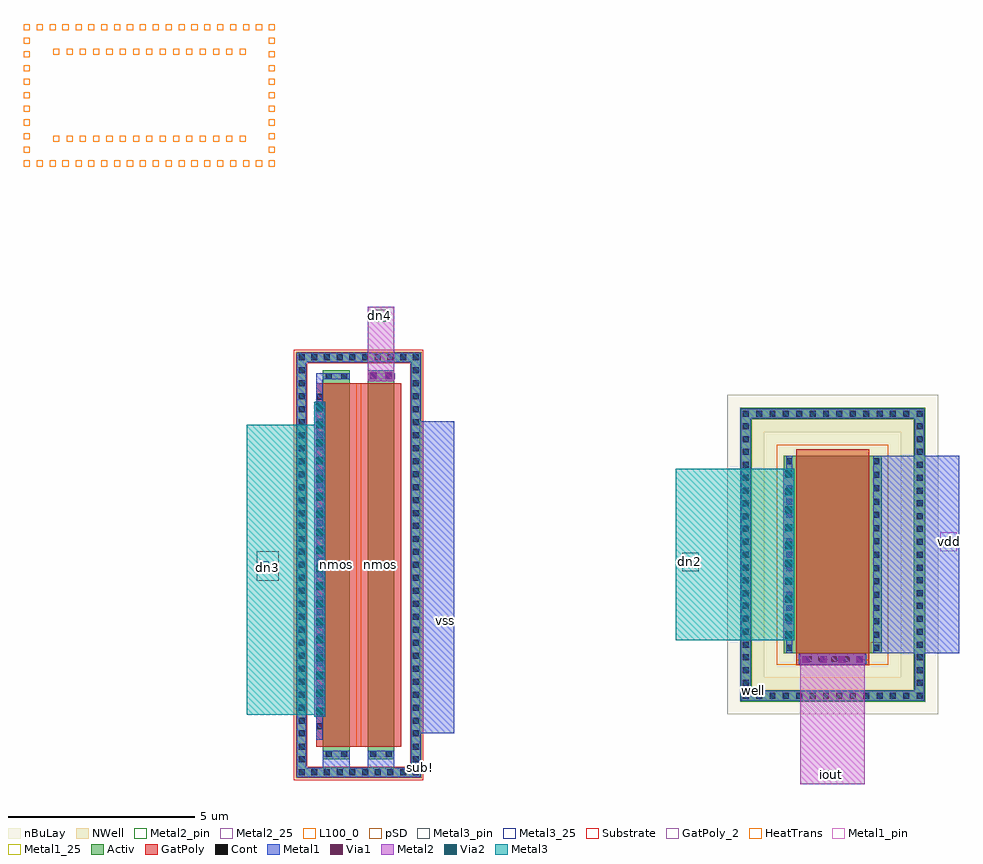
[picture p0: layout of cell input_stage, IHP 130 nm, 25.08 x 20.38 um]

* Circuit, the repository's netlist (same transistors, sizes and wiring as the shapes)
* Extracted by KLayout with SG13G2 LVS runset on : 27/03/2025 16:03

.SUBCKT input_stage vss dn4 dn3 vdd dn2 iout
M$1 vss dn3 dn4 \$1 sg13_lv_nmos L=9.75u W=0.72u AS=0.2448p AD=0.2448p PS=2.12u
+ PD=2.12u
M$2 vss dn3 dn3 \$1 sg13_lv_nmos L=9.75u W=0.72u AS=0.2448p AD=0.2448p PS=2.12u
+ PD=2.12u
M$3 dn2 iout vdd \$8 sg13_lv_pmos L=1.95u W=5.3u AS=1.802p AD=1.802p PS=11.28u
+ PD=11.28u
R$4 \$8 vdd ntap1 A=7.5826p P=48.92u
R$5 \$1 vss ptap1 A=7.0975p P=56.78u
.ENDS input_stage

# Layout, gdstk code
import gdstk
lib = gdstk.Library(unit=1e-6, precision=1e-09)
def R(c, l, rs):  # rectangles x0, y0, x1, y1
    for r in rs: c.add(gdstk.rectangle(r[:2], r[2:], *l))
def A(c, l, x, y, w, h, nx, ny, dx, dy):  # array of equal rectangles
    R(c, l, [(x+i*dx, y+j*dy, x+i*dx+w, y+j*dy+h) for i in range(nx) for j in range(ny)])
def P(c, l, *ps):  # polygons
    for p in ps: c.add(gdstk.Polygon(p, *l))
Activ = (1, 0)
GatPoly = (5, 0)
GatPoly_2 = (5, 2)
Cont = (6, 0)
Metal1 = (8, 0)
Metal1_pin = (8, 2)
Metal1_25 = (8, 25)
Metal2 = (10, 0)
Metal2_pin = (10, 2)
Metal2_25 = (10, 25)
pSD = (14, 0)
Via1 = (19, 0)
Via2 = (29, 0)
Metal3 = (30, 0)
Metal3_pin = (30, 2)
Metal3_25 = (30, 25)
NWell = (31, 0)
nBuLay = (32, 0)
Substrate = (40, 0)
HeatTrans = (51, 0)
L100_0 = (100, 0)

pmos = lib.new_cell('pmos')
R(pmos, Activ, [(0,0,0.3,0.3), (0,0,2.63,5.3), (2.33,0,2.63,0.3)])
R(pmos, GatPoly, [(0.34,-0.18,2.29,5.48), (0.34,-0.18,2.29,5.48)])
A(pmos, Cont, 0.07, 0.07, 0.16, 0.16, 1, 3, 0, 0.355)
A(pmos, Cont, 2.4, 0.07, 0.16, 0.16, 1, 3, 0, 0.355)
A(pmos, Cont, 0.07, 2.57, 0.16, 0.16, 1, 3, 0, 0.355)
A(pmos, Cont, 2.4, 2.57, 0.16, 0.16, 1, 3, 0, 0.355)
R(pmos, Cont, [(0.07,1.14,0.23,1.3), (2.4,1.14,2.56,1.3), (0.07,1.495,0.23,1.655), (2.4,1.495,2.56,1.655), (0.07,1.855,0.23,2.015), (2.4,1.855,2.56,2.015), (0.07,2.21,0.23,2.37), (2.4,2.21,2.56,2.37), (0.07,3.64,0.23,3.8), (2.4,3.64,2.56,3.8), (0.07,3.995,0.23,4.155), (2.4,3.995,2.56,4.155), (0.07,4.355,0.23,4.515), (2.4,4.355,2.56,4.515), (0.07,4.71,0.23,4.87), (2.4,4.71,2.56,4.87), (0.07,5.07,0.23,5.23), (2.4,5.07,2.56,5.23)])
R(pmos, Metal1, [(0.07,0,0.23,5.3), (0.07,0,0.23,5.3), (2.4,0,2.56,5.3), (2.4,0,2.56,5.3)])
R(pmos, pSD, [(-0.18,-0.3,2.81,5.6)])
R(pmos, NWell, [(-0.31,-0.31,2.94,5.61)])
R(pmos, Substrate, [(2.33,0,2.63,0.3)])
R(pmos, HeatTrans, [(0.34,-0.18,2.29,5.48)])
pmos.add(gdstk.Label('pmos', (1.315,2.65), layer=63, texttype=0))
pmos.add(gdstk.Label('pmos', (1.315,2.65), layer=51, texttype=0))

gring = lib.new_cell('gring')
P(gring, Activ, [(0,0),(0,7.57),(0.31,7.57),(0.31,0.31),(4.66,0.31),(4.66,7.57),(0,7.57),(0,7.88),(4.97,7.88),(4.97,0)])
A(gring, Cont, 0.075, 0.075, 0.16, 0.16, 1, 3, 0, 0.345)
A(gring, Cont, 0.79, 0.075, 0.16, 0.16, 3, 2, 0.36, 7.57)
A(gring, Cont, 1.865, 0.075, 0.16, 0.16, 4, 2, 0.36, 7.57)
A(gring, Cont, 3.3, 0.075, 0.16, 0.16, 3, 2, 0.36, 7.57)
A(gring, Cont, 4.735, 0.075, 0.16, 0.16, 1, 3, 0, 0.345)
A(gring, Cont, 0.075, 1.105, 0.16, 0.16, 1, 6, 0, 0.345)
A(gring, Cont, 4.735, 1.105, 0.16, 0.16, 1, 6, 0, 0.345)
A(gring, Cont, 0.075, 3.17, 0.16, 0.16, 1, 5, 0, 0.345)
A(gring, Cont, 4.735, 3.17, 0.16, 0.16, 1, 5, 0, 0.345)
A(gring, Cont, 0.075, 4.89, 0.16, 0.16, 1, 6, 0, 0.345)
A(gring, Cont, 4.735, 4.89, 0.16, 0.16, 1, 6, 0, 0.345)
A(gring, Cont, 0.075, 6.955, 0.16, 0.16, 1, 3, 0, 0.345)
A(gring, Cont, 4.735, 6.955, 0.16, 0.16, 1, 3, 0, 0.345)
R(gring, Cont, [(0.075,0.075,0.235,0.235), (0.435,0.075,0.595,0.235), (4.375,0.075,4.535,0.235), (4.735,0.075,4.895,0.235), (0.075,7.645,0.235,7.805), (0.435,7.645,0.595,7.805), (4.375,7.645,4.535,7.805), (4.735,7.645,4.895,7.805)])
P(gring, Metal1, [(0.025,0.025),(0.025,7.595),(0.285,7.595),(0.285,0.285),(4.685,0.285),(4.685,7.595),(0.025,7.595),(0.025,7.855),(4.945,7.855),(4.945,0.025)])
R(gring, NWell, [(0,0,4.97,7.88)])

via_stack = lib.new_cell('via_stack')
R(via_stack, Metal1, [(-0.865,-0.145,0.865,0.145)])
R(via_stack, Metal2, [(-0.865,-0.145,0.865,0.145)])
A(via_stack, Via1, -0.815, -0.095, 0.19, 0.19, 4, 1, 0.48, 0)

via_stack_1 = lib.new_cell('via_stack$1')
R(via_stack_1, Metal1, [(-0.145,-2.305,0.145,2.305)])
R(via_stack_1, Metal2, [(-0.145,-2.305,0.145,2.305)])
A(via_stack_1, Via1, -0.095, -2.255, 0.19, 0.19, 1, 10, 0, 0.48)
A(via_stack_1, Via2, -0.095, -2.255, 0.19, 0.19, 1, 10, 0, 0.48)
R(via_stack_1, Metal3, [(-0.145,-2.305,0.145,2.305)])

input_stage = lib.new_cell('input_stage')
R(input_stage, Activ, [(-18.765,33.54,-18.045,43.97), (-18.345,33.54,-18.045,33.84), (-17.57,33.54,-16.85,43.97), (-17.15,33.54,-16.85,33.84), (-18.345,43.67,-18.045,43.97), (-17.15,43.67,-16.85,43.97)])
P(input_stage, Activ, [(-19.465,33.065),(-19.465,44.445),(-16.15,44.445),(-16.15,33.065),(-19.215,33.065),(-19.215,33.315),(-16.4,33.315),(-16.4,44.195),(-19.215,44.195),(-19.215,33.065)])
R(input_stage, GatPoly, [(-18.945,33.88,-17.865,43.63), (-17.865,33.88,-17.75,43.63), (-17.75,33.88,-16.67,43.63), (-6.07,36.07,-4.12,36.2)])
R(input_stage, GatPoly_2, [(-18.945,33.88,-17.865,43.63), (-17.75,33.88,-16.67,43.63)])
A(input_stage, Cont, -19.42, 33.11, 0.16, 0.16, 5, 2, 0.34, 11.13)
A(input_stage, Cont, -17.715, 33.11, 0.16, 0.16, 5, 2, 0.34, 11.13)
A(input_stage, Cont, -18.935, 34.35, 0.16, 0.16, 1, 27, 0, 0.34)
A(input_stage, Cont, -19.42, 35.89, 0.16, 0.16, 1, 3, 0, 0.35)
A(input_stage, Cont, -16.355, 35.89, 0.16, 0.16, 1, 3, 0, 0.35)
A(input_stage, Cont, -5.82, 36.14, 0.16, 0.16, 5, 1, 0.34, 0)
A(input_stage, Cont, -19.42, 38.325, 0.16, 0.16, 1, 3, 0, 0.35)
A(input_stage, Cont, -16.355, 38.325, 0.16, 0.16, 1, 3, 0, 0.35)
A(input_stage, Cont, -19.42, 40.76, 0.16, 0.16, 1, 3, 0, 0.35)
A(input_stage, Cont, -16.355, 40.76, 0.16, 0.16, 1, 3, 0, 0.35)
R(input_stage, Cont, [(-19.42,33.11,-19.26,33.27), (-16.355,33.11,-16.195,33.27), (-19.42,33.46,-19.26,33.62), (-16.355,33.46,-16.195,33.62), (-18.695,33.61,-18.535,33.77), (-18.275,33.61,-18.115,33.77), (-17.5,33.61,-17.34,33.77), (-17.08,33.61,-16.92,33.77), (-19.42,33.805,-19.26,33.965), (-16.355,33.805,-16.195,33.965), (-19.42,34.155,-19.26,34.315), (-16.355,34.155,-16.195,34.315), (-19.42,34.5,-19.26,34.66), (-16.355,34.5,-16.195,34.66), (-19.42,34.85,-19.26,35.01), (-16.355,34.85,-16.195,35.01), (-19.42,35.195,-19.26,35.355), (-16.355,35.195,-16.195,35.355), (-19.42,35.545,-19.26,35.705), (-16.355,35.545,-16.195,35.705), (-19.42,36.935,-19.26,37.095), (-16.355,36.935,-16.195,37.095), (-19.42,37.285,-19.26,37.445), (-16.355,37.285,-16.195,37.445), (-19.42,37.63,-19.26,37.79), (-16.355,37.63,-16.195,37.79), (-19.42,37.98,-19.26,38.14), (-16.355,37.98,-16.195,38.14), (-19.42,39.37,-19.26,39.53), (-16.355,39.37,-16.195,39.53), (-19.42,39.72,-19.26,39.88), (-16.355,39.72,-16.195,39.88), (-19.42,40.065,-19.26,40.225), (-16.355,40.065,-16.195,40.225), (-19.42,40.415,-19.26,40.575), (-16.355,40.415,-16.195,40.575), (-19.42,41.805,-19.26,41.965), (-16.355,41.805,-16.195,41.965), (-19.42,42.155,-19.26,42.315), (-16.355,42.155,-16.195,42.315), (-19.42,42.5,-19.26,42.66), (-16.355,42.5,-16.195,42.66), (-19.42,42.85,-19.26,43.01), (-16.355,42.85,-16.195,43.01), (-19.42,43.195,-19.26,43.355), (-16.355,43.195,-16.195,43.355), (-19.42,43.545,-19.26,43.705), (-16.355,43.545,-16.195,43.705), (-18.695,43.74,-18.535,43.9), (-18.275,43.74,-18.115,43.9), (-17.5,43.74,-17.34,43.9), (-17.08,43.74,-16.92,43.9), (-19.42,43.89,-19.26,44.05), (-16.355,43.89,-16.195,44.05), (-19.42,44.24,-19.26,44.4), (-16.355,44.24,-16.195,44.4)])
R(input_stage, Metal1, [(-19.46,33.07,-16.155,33.31), (-19.46,33.31,-19.22,44.44), (-16.395,33.31,-16.155,44.2), (-18.765,33.32,-18.045,33.61), (-17.57,33.32,-16.85,33.61), (-18.765,33.61,-18.045,33.77), (-17.57,33.61,-16.85,33.77), (-18.94,34.06,-18.77,43.45), (-16.145,34.24,-15.24,42.605), (-19,34.685,-18.71,43.135), (-6,36.085,-4.19,36.375), (-3.85,36.38,-2.895,41.68), (-2.635,36.38,-1.705,41.68), (-18.94,43.45,-18.77,43.9), (-17.56,43.68,-16.86,43.97), (-18.77,43.74,-18.765,43.9), (-18.765,43.74,-18.045,43.9), (-17.57,43.74,-16.85,43.9), (-16.85,43.74,-16.845,43.9), (-19.22,44.2,-16.155,44.44)])
P(input_stage, Metal1, [(-19.47,33.06),(-19.47,44.45),(-16.145,44.45),(-16.145,33.06),(-19.21,33.06),(-19.21,33.32),(-16.405,33.32),(-16.405,44.19),(-19.21,44.19),(-19.21,33.06)],
  [(-17.25,43.985),(-17.25,43.995),(-17.25,43.995),(-17.25,43.985)])
R(input_stage, Metal1_pin, [(-18.765,33.61,-18.045,33.77), (-17.57,33.61,-16.85,33.77), (-15.59,37.17,-15.37,37.365), (-2.21,39.12,-1.765,39.635), (-18.765,43.74,-18.045,43.9), (-17.57,43.74,-16.85,43.9)])
R(input_stage, Metal1_25, [(-15.54,37.22,-15.415,37.305)])
R(input_stage, Metal2, [(-5.96,32.88,-4.23,36.08), (-19,34.685,-18.71,43.135), (-17.56,43.68,-16.86,43.97), (-17.56,43.97,-16.86,45.675)])
R(input_stage, Metal2_pin, [(-5.235,33.04,-4.905,33.23), (-17.4,45.28,-17.085,45.595)])
R(input_stage, Metal2_25, [(-17.325,45.38,-17.17,45.505)])
P(input_stage, pSD, [(-19.495,33.035),(-19.495,44.475),(-16.12,44.475),(-16.12,33.035),(-19.185,33.035),(-19.185,33.345),(-16.43,33.345),(-16.43,44.165),(-19.185,44.165),(-19.185,33.035)])
A(input_stage, Via1, -18.95, 34.735, 0.19, 0.19, 1, 18, 0, 0.48)
R(input_stage, Via1, [(-17.51,43.73,-17.32,43.92), (-17.1,43.73,-16.91,43.92)])
A(input_stage, Via2, -18.95, 34.735, 0.19, 0.19, 1, 18, 0, 0.48)
R(input_stage, Metal3, [(-19,34.685,-18.71,43.135), (-20.805,34.74,-19,42.52), (-9.31,36.73,-6.415,41.34)])
R(input_stage, Metal3_pin, [(-20.545,38.335,-19.945,39.125), (-9.135,38.585,-8.69,39.085)])
R(input_stage, Metal3_25, [(-20.395,38.615,-20.215,38.86)])
R(input_stage, nBuLay, [(-7.925,34.745,-2.265,35.745), (-3.265,34.745,-2.265,42.315), (-7.925,35.745,-6.925,43.315), (-6.925,42.315,-2.265,43.315)])
R(input_stage, HeatTrans, [(-18.945,33.88,-17.865,43.63), (-17.75,33.88,-16.67,43.63)])
R(input_stage, L100_0, [(-19.421,33.109,-19.259,33.271), (-19.421,33.109,-19.259,33.271), (-19.081,33.109,-18.919,33.271), (-19.081,33.109,-18.919,33.271), (-18.741,33.109,-18.579,33.271), (-18.741,33.109,-18.579,33.271), (-18.401,33.109,-18.239,33.271), (-18.401,33.109,-18.239,33.271), (-18.061,33.109,-17.899,33.271), (-18.061,33.109,-17.899,33.271), (-17.716,33.109,-17.554,33.271), (-17.716,33.109,-17.554,33.271), (-17.376,33.109,-17.214,33.271), (-17.376,33.109,-17.214,33.271), (-17.036,33.109,-16.874,33.271), (-17.036,33.109,-16.874,33.271), (-16.696,33.109,-16.534,33.271), (-16.696,33.109,-16.534,33.271), (-16.356,33.109,-16.194,33.271), (-16.356,33.109,-16.194,33.271), (-19.421,33.459,-19.259,33.621), (-19.421,33.459,-19.259,33.621), (-16.356,33.459,-16.194,33.621), (-16.356,33.459,-16.194,33.621), (-18.696,33.609,-18.534,33.771), (-18.696,33.609,-18.534,33.771), (-18.276,33.609,-18.114,33.771), (-18.276,33.609,-18.114,33.771), (-17.501,33.609,-17.339,33.771), (-17.501,33.609,-17.339,33.771), (-17.081,33.609,-16.919,33.771), (-17.081,33.609,-16.919,33.771), (-19.421,33.804,-19.259,33.966), (-19.421,33.804,-19.259,33.966), (-16.356,33.804,-16.194,33.966), (-16.356,33.804,-16.194,33.966), (-19.421,34.154,-19.259,34.316), (-19.421,34.154,-19.259,34.316), (-16.356,34.154,-16.194,34.316), (-16.356,34.154,-16.194,34.316), (-19.421,34.499,-19.259,34.661), (-19.421,34.499,-19.259,34.661), (-16.356,34.499,-16.194,34.661), (-16.356,34.499,-16.194,34.661), (-19.421,34.849,-19.259,35.011), (-19.421,34.849,-19.259,35.011), (-16.356,34.849,-16.194,35.011), (-16.356,34.849,-16.194,35.011), (-19.421,35.194,-19.259,35.356), (-19.421,35.194,-19.259,35.356), (-16.356,35.194,-16.194,35.356), (-16.356,35.194,-16.194,35.356), (-19.421,35.544,-19.259,35.706), (-19.421,35.544,-19.259,35.706), (-16.356,35.544,-16.194,35.706), (-16.356,35.544,-16.194,35.706), (-19.421,35.889,-19.259,36.051), (-19.421,35.889,-19.259,36.051), (-16.356,35.889,-16.194,36.051), (-16.356,35.889,-16.194,36.051), (-19.421,36.239,-19.259,36.401), (-19.421,36.239,-19.259,36.401), (-16.356,36.239,-16.194,36.401), (-16.356,36.239,-16.194,36.401), (-19.421,36.589,-19.259,36.751), (-19.421,36.589,-19.259,36.751), (-16.356,36.589,-16.194,36.751), (-16.356,36.589,-16.194,36.751), (-19.421,36.934,-19.259,37.096), (-19.421,36.934,-19.259,37.096), (-16.356,36.934,-16.194,37.096), (-16.356,36.934,-16.194,37.096), (-19.421,37.284,-19.259,37.446), (-19.421,37.284,-19.259,37.446), (-16.356,37.284,-16.194,37.446), (-16.356,37.284,-16.194,37.446), (-19.421,37.629,-19.259,37.791), (-19.421,37.629,-19.259,37.791), (-16.356,37.629,-16.194,37.791), (-16.356,37.629,-16.194,37.791), (-19.421,37.979,-19.259,38.141), (-19.421,37.979,-19.259,38.141), (-16.356,37.979,-16.194,38.141), (-16.356,37.979,-16.194,38.141), (-19.421,38.324,-19.259,38.486), (-19.421,38.324,-19.259,38.486), (-16.356,38.324,-16.194,38.486), (-16.356,38.324,-16.194,38.486), (-19.421,38.674,-19.259,38.836), (-19.421,38.674,-19.259,38.836), (-16.356,38.674,-16.194,38.836), (-16.356,38.674,-16.194,38.836), (-19.421,39.024,-19.259,39.186), (-19.421,39.024,-19.259,39.186), (-16.356,39.024,-16.194,39.186), (-16.356,39.024,-16.194,39.186), (-19.421,39.369,-19.259,39.531), (-19.421,39.369,-19.259,39.531), (-16.356,39.369,-16.194,39.531), (-16.356,39.369,-16.194,39.531), (-19.421,39.719,-19.259,39.881), (-19.421,39.719,-19.259,39.881), (-16.356,39.719,-16.194,39.881), (-16.356,39.719,-16.194,39.881), (-19.421,40.064,-19.259,40.226), (-19.421,40.064,-19.259,40.226), (-16.356,40.064,-16.194,40.226), (-16.356,40.064,-16.194,40.226), (-19.421,40.414,-19.259,40.576), (-19.421,40.414,-19.259,40.576), (-16.356,40.414,-16.194,40.576), (-16.356,40.414,-16.194,40.576), (-19.421,40.759,-19.259,40.921), (-19.421,40.759,-19.259,40.921), (-16.356,40.759,-16.194,40.921), (-16.356,40.759,-16.194,40.921), (-19.421,41.109,-19.259,41.271), (-19.421,41.109,-19.259,41.271), (-16.356,41.109,-16.194,41.271), (-16.356,41.109,-16.194,41.271), (-19.421,41.459,-19.259,41.621), (-19.421,41.459,-19.259,41.621), (-16.356,41.459,-16.194,41.621), (-16.356,41.459,-16.194,41.621), (-19.421,41.804,-19.259,41.966), (-19.421,41.804,-19.259,41.966), (-16.356,41.804,-16.194,41.966), (-16.356,41.804,-16.194,41.966), (-19.421,42.154,-19.259,42.316), (-19.421,42.154,-19.259,42.316), (-16.356,42.154,-16.194,42.316), (-16.356,42.154,-16.194,42.316), (-19.421,42.499,-19.259,42.661), (-19.421,42.499,-19.259,42.661), (-16.356,42.499,-16.194,42.661), (-16.356,42.499,-16.194,42.661), (-19.421,42.849,-19.259,43.011), (-19.421,42.849,-19.259,43.011), (-16.356,42.849,-16.194,43.011), (-16.356,42.849,-16.194,43.011), (-19.421,43.194,-19.259,43.356), (-19.421,43.194,-19.259,43.356), (-16.356,43.194,-16.194,43.356), (-16.356,43.194,-16.194,43.356), (-19.421,43.544,-19.259,43.706), (-19.421,43.544,-19.259,43.706), (-16.356,43.544,-16.194,43.706), (-16.356,43.544,-16.194,43.706), (-18.696,43.739,-18.534,43.901), (-18.696,43.739,-18.534,43.901), (-18.276,43.739,-18.114,43.901), (-18.276,43.739,-18.114,43.901), (-17.501,43.739,-17.339,43.901), (-17.501,43.739,-17.339,43.901), (-17.081,43.739,-16.919,43.901), (-17.081,43.739,-16.919,43.901), (-19.421,43.889,-19.259,44.051), (-19.421,43.889,-19.259,44.051), (-16.356,43.889,-16.194,44.051), (-16.356,43.889,-16.194,44.051), (-19.421,44.239,-19.259,44.401), (-19.421,44.239,-19.259,44.401), (-19.081,44.239,-18.919,44.401), (-19.081,44.239,-18.919,44.401), (-18.741,44.239,-18.579,44.401), (-18.741,44.239,-18.579,44.401), (-18.401,44.239,-18.239,44.401), (-18.401,44.239,-18.239,44.401), (-18.061,44.239,-17.899,44.401), (-18.061,44.239,-17.899,44.401), (-17.716,44.239,-17.554,44.401), (-17.716,44.239,-17.554,44.401), (-17.376,44.239,-17.214,44.401), (-17.376,44.239,-17.214,44.401), (-17.036,44.239,-16.874,44.401), (-17.036,44.239,-16.874,44.401), (-16.696,44.239,-16.534,44.401), (-16.696,44.239,-16.534,44.401), (-16.356,44.239,-16.194,44.401), (-16.356,44.239,-16.194,44.401), (-26.786,49.439,-26.624,49.601), (-26.786,49.439,-26.624,49.601), (-26.441,49.439,-26.279,49.601), (-26.441,49.439,-26.279,49.601), (-26.096,49.439,-25.934,49.601), (-26.096,49.439,-25.934,49.601), (-25.751,49.439,-25.589,49.601), (-25.751,49.439,-25.589,49.601), (-25.401,49.439,-25.239,49.601), (-25.401,49.439,-25.239,49.601), (-25.056,49.439,-24.894,49.601), (-25.056,49.439,-24.894,49.601), (-24.711,49.439,-24.549,49.601), (-24.711,49.439,-24.549,49.601), (-24.366,49.439,-24.204,49.601), (-24.366,49.439,-24.204,49.601), (-24.021,49.439,-23.859,49.601), (-24.021,49.439,-23.859,49.601), (-23.676,49.439,-23.514,49.601), (-23.676,49.439,-23.514,49.601), (-23.326,49.439,-23.164,49.601), (-23.326,49.439,-23.164,49.601), (-22.981,49.439,-22.819,49.601), (-22.981,49.439,-22.819,49.601), (-22.636,49.439,-22.474,49.601), (-22.636,49.439,-22.474,49.601), (-22.291,49.439,-22.129,49.601), (-22.291,49.439,-22.129,49.601), (-21.946,49.439,-21.784,49.601), (-21.946,49.439,-21.784,49.601), (-21.601,49.439,-21.439,49.601), (-21.601,49.439,-21.439,49.601), (-21.251,49.439,-21.089,49.601), (-21.251,49.439,-21.089,49.601), (-20.906,49.439,-20.744,49.601), (-20.906,49.439,-20.744,49.601), (-20.561,49.439,-20.399,49.601), (-20.561,49.439,-20.399,49.601), (-20.216,49.439,-20.054,49.601), (-20.216,49.439,-20.054,49.601), (-26.786,49.804,-26.624,49.966), (-26.786,49.804,-26.624,49.966), (-20.216,49.804,-20.054,49.966), (-20.216,49.804,-20.054,49.966), (-26.001,50.104,-25.839,50.266), (-26.001,50.104,-25.839,50.266), (-25.641,50.104,-25.479,50.266), (-25.641,50.104,-25.479,50.266), (-25.286,50.104,-25.124,50.266), (-25.286,50.104,-25.124,50.266), (-24.926,50.104,-24.764,50.266), (-24.926,50.104,-24.764,50.266), (-24.571,50.104,-24.409,50.266), (-24.571,50.104,-24.409,50.266), (-24.211,50.104,-24.049,50.266), (-24.211,50.104,-24.049,50.266), (-23.856,50.104,-23.694,50.266), (-23.856,50.104,-23.694,50.266), (-23.501,50.104,-23.339,50.266), (-23.501,50.104,-23.339,50.266), (-23.141,50.104,-22.979,50.266), (-23.141,50.104,-22.979,50.266), (-22.786,50.104,-22.624,50.266), (-22.786,50.104,-22.624,50.266), (-22.426,50.104,-22.264,50.266), (-22.426,50.104,-22.264,50.266), (-22.071,50.104,-21.909,50.266), (-22.071,50.104,-21.909,50.266), (-21.711,50.104,-21.549,50.266), (-21.711,50.104,-21.549,50.266), (-21.356,50.104,-21.194,50.266), (-21.356,50.104,-21.194,50.266), (-21.001,50.104,-20.839,50.266), (-21.001,50.104,-20.839,50.266), (-26.786,50.169,-26.624,50.331), (-26.786,50.169,-26.624,50.331), (-20.216,50.169,-20.054,50.331), (-20.216,50.169,-20.054,50.331), (-26.786,50.539,-26.624,50.701), (-26.786,50.539,-26.624,50.701), (-20.216,50.539,-20.054,50.701), (-20.216,50.539,-20.054,50.701), (-26.786,50.904,-26.624,51.066), (-26.786,50.904,-26.624,51.066), (-20.216,50.904,-20.054,51.066), (-20.216,50.904,-20.054,51.066), (-26.786,51.269,-26.624,51.431), (-26.786,51.269,-26.624,51.431), (-20.216,51.269,-20.054,51.431), (-20.216,51.269,-20.054,51.431), (-26.786,51.634,-26.624,51.796), (-26.786,51.634,-26.624,51.796), (-20.216,51.634,-20.054,51.796), (-20.216,51.634,-20.054,51.796), (-26.786,51.999,-26.624,52.161), (-26.786,51.999,-26.624,52.161), (-20.216,51.999,-20.054,52.161), (-20.216,51.999,-20.054,52.161), (-26.786,52.369,-26.624,52.531), (-26.786,52.369,-26.624,52.531), (-20.216,52.369,-20.054,52.531), (-20.216,52.369,-20.054,52.531), (-26.001,52.434,-25.839,52.596), (-26.001,52.434,-25.839,52.596), (-25.641,52.434,-25.479,52.596), (-25.641,52.434,-25.479,52.596), (-25.286,52.434,-25.124,52.596), (-25.286,52.434,-25.124,52.596), (-24.926,52.434,-24.764,52.596), (-24.926,52.434,-24.764,52.596), (-24.571,52.434,-24.409,52.596), (-24.571,52.434,-24.409,52.596), (-24.211,52.434,-24.049,52.596), (-24.211,52.434,-24.049,52.596), (-23.856,52.434,-23.694,52.596), (-23.856,52.434,-23.694,52.596), (-23.501,52.434,-23.339,52.596), (-23.501,52.434,-23.339,52.596), (-23.141,52.434,-22.979,52.596), (-23.141,52.434,-22.979,52.596), (-22.786,52.434,-22.624,52.596), (-22.786,52.434,-22.624,52.596), (-22.426,52.434,-22.264,52.596), (-22.426,52.434,-22.264,52.596), (-22.071,52.434,-21.909,52.596), (-22.071,52.434,-21.909,52.596), (-21.711,52.434,-21.549,52.596), (-21.711,52.434,-21.549,52.596), (-21.356,52.434,-21.194,52.596), (-21.356,52.434,-21.194,52.596), (-21.001,52.434,-20.839,52.596), (-21.001,52.434,-20.839,52.596), (-26.786,52.734,-26.624,52.896), (-26.786,52.734,-26.624,52.896), (-20.216,52.734,-20.054,52.896), (-20.216,52.734,-20.054,52.896), (-26.786,53.099,-26.624,53.261), (-26.786,53.099,-26.624,53.261), (-26.441,53.099,-26.279,53.261), (-26.441,53.099,-26.279,53.261), (-26.096,53.099,-25.934,53.261), (-26.096,53.099,-25.934,53.261), (-25.751,53.099,-25.589,53.261), (-25.751,53.099,-25.589,53.261), (-25.401,53.099,-25.239,53.261), (-25.401,53.099,-25.239,53.261), (-25.056,53.099,-24.894,53.261), (-25.056,53.099,-24.894,53.261), (-24.711,53.099,-24.549,53.261), (-24.711,53.099,-24.549,53.261), (-24.366,53.099,-24.204,53.261), (-24.366,53.099,-24.204,53.261), (-24.021,53.099,-23.859,53.261), (-24.021,53.099,-23.859,53.261), (-23.676,53.099,-23.514,53.261), (-23.676,53.099,-23.514,53.261), (-23.326,53.099,-23.164,53.261), (-23.326,53.099,-23.164,53.261), (-22.981,53.099,-22.819,53.261), (-22.981,53.099,-22.819,53.261), (-22.636,53.099,-22.474,53.261), (-22.636,53.099,-22.474,53.261), (-22.291,53.099,-22.129,53.261), (-22.291,53.099,-22.129,53.261), (-21.946,53.099,-21.784,53.261), (-21.946,53.099,-21.784,53.261), (-21.601,53.099,-21.439,53.261), (-21.601,53.099,-21.439,53.261), (-21.251,53.099,-21.089,53.261), (-21.251,53.099,-21.089,53.261), (-20.906,53.099,-20.744,53.261), (-20.906,53.099,-20.744,53.261), (-20.561,53.099,-20.399,53.261), (-20.561,53.099,-20.399,53.261), (-20.216,53.099,-20.054,53.261), (-20.216,53.099,-20.054,53.261)])
input_stage.add(gdstk.FlexPath([(-19.365,38.8),(-19.365,44.345),(-16.25,44.345),(-16.25,33.165),(-19.365,33.165),(-19.365,38.8)], 0.36, ends="flush", simple_path=True, layer=40, datatype=0))  # Substrate
input_stage.add(gdstk.Reference(pmos, (-6.41,36.38)))
input_stage.add(gdstk.Reference(gring, (-7.58,35.09)))
input_stage.add(gdstk.Reference(via_stack, (-5.095,36.225)))
input_stage.add(gdstk.Reference(via_stack_1, (-6.27,39.035)))
input_stage.add(gdstk.Label('nmos', (-17.21,38.755), layer=63, texttype=0))
input_stage.add(gdstk.Label('nmos', (-18.405,38.755), layer=63, texttype=0))
input_stage.add(gdstk.Label('sub!', (-16.15,33.315), layer=63, texttype=0))
input_stage.add(gdstk.Label('well', (-7.225,35.375), layer=63, texttype=0))
input_stage.add(gdstk.Label('nmos', (-17.21,38.755), layer=51, texttype=0))
input_stage.add(gdstk.Label('nmos', (-18.405,38.755), layer=51, texttype=0))
input_stage.add(gdstk.Label('vss', (-15.47,37.265), layer=8, texttype=25))
input_stage.add(gdstk.Label('vdd', (-1.955,39.39), layer=8, texttype=25))
input_stage.add(gdstk.Label('dn3', (-20.265,38.685), layer=30, texttype=25))
input_stage.add(gdstk.Label('dn2', (-8.93,38.86), layer=30, texttype=25))
input_stage.add(gdstk.Label('dn4', (-17.255,45.435), layer=10, texttype=25))
input_stage.add(gdstk.Label('iout', (-5.125,33.125), layer=10, texttype=25))

lib.write_gds('input_stage.gds')
